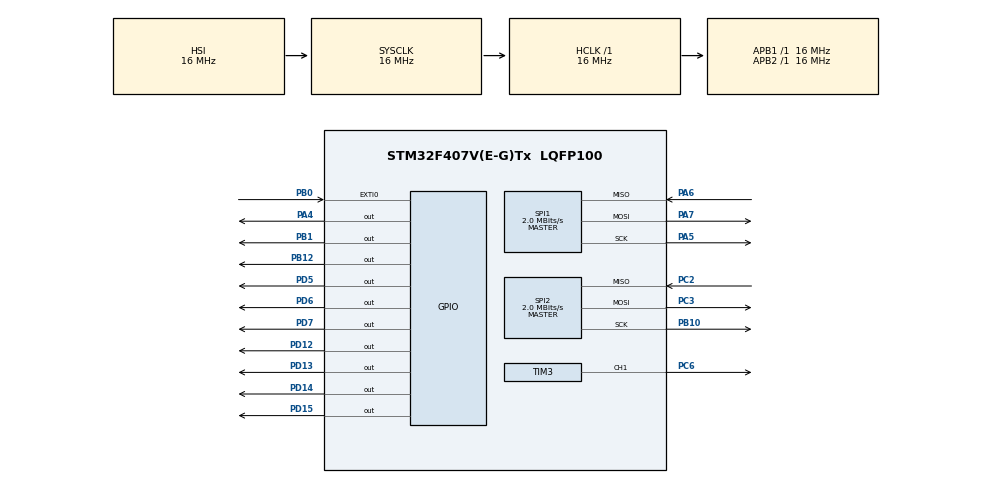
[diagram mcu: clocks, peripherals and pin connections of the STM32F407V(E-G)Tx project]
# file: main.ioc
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IWDG.Prescaler=IWDG_PRESCALER_64
IWDG.Reload=1250
Mcu.Family=STM32F4
Mcu.Name=STM32F407V(E-G)Tx
Mcu.Package=LQFP100
NVIC.EXTI0_IRQn=true\:0\:0\:false\:false\:true\:true\:true\:true
NVIC.PriorityGroup=NVIC_PRIORITYGROUP_4
PA4.GPIO_Speed=GPIO_SPEED_FREQ_LOW
PA4.PinState=GPIO_PIN_RESET
PA4.Signal=GPIO_Output
PA5.Mode=Full_Duplex_Master
PA5.Signal=SPI1_SCK
PA6.Mode=Full_Duplex_Master
PA6.Signal=SPI1_MISO
PA7.Mode=Full_Duplex_Master
PA7.Signal=SPI1_MOSI
PB0.GPIO_ModeDefaultEXTI=GPIO_MODE_IT_FALLING
PB0.GPIO_PuPd=GPIO_PULLUP
PB0.Signal=GPXTI0
PB1.GPIO_Speed=GPIO_SPEED_FREQ_HIGH
PB1.Signal=GPIO_Output
PB10.GPIO_PuPd=GPIO_NOPULL
PB10.Mode=Full_Duplex_Master
PB10.Signal=SPI2_SCK
PB12.PinState=GPIO_PIN_SET
PB12.Signal=GPIO_Output
PC2.Mode=Full_Duplex_Master
PC2.Signal=SPI2_MISO
PC3.Mode=Full_Duplex_Master
PC3.Signal=SPI2_MOSI
PC6.Signal=S_TIM3_CH1
PD12.Signal=GPIO_Output
PD13.Signal=GPIO_Output
PD14.Signal=GPIO_Output
PD15.Signal=GPIO_Output
PD5.Signal=GPIO_Output
PD6.Signal=GPIO_Output
PD7.Signal=GPIO_Output
ProjectManager.HeapSize=0x200
ProjectManager.StackSize=0x400
ProjectManager.TargetToolchain=STM32CubeIDE
RCC.AHBFreq_Value=16000000
RCC.APB1Freq_Value=16000000
RCC.APB2Freq_Value=16000000
RCC.CortexFreq_Value=16000000
RCC.HSE_VALUE=25000000
RCC.HSI_VALUE=16000000
RCC.LSE_VALUE=32768
RCC.SYSCLKFreq_VALUE=16000000
RCC.VCOOutputFreq_Value=192000000
SH.S_TIM3_CH1.0=TIM3_CH1,PWM Generation1 CH1
SPI1.BaudRatePrescaler=SPI_BAUDRATEPRESCALER_8
SPI1.CalculateBaudRate=2.0 MBits/s
SPI1.Direction=SPI_DIRECTION_2LINES
SPI1.Mode=SPI_MODE_MASTER
SPI1.VirtualType=VM_MASTER
SPI2.BaudRatePrescaler=SPI_BAUDRATEPRESCALER_8
SPI2.CalculateBaudRate=2.0 MBits/s
SPI2.Direction=SPI_DIRECTION_2LINES
SPI2.Mode=SPI_MODE_MASTER
SPI2.VirtualType=VM_MASTER
TIM3.Channel-PWM\ Generation1\ CH1=TIM_CHANNEL_1
TIM3.Period=19999
TIM3.Prescaler=15
VP_IWDG_VS_IWDG.Mode=IWDG_Activate
board=custom

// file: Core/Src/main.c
/* USER CODE BEGIN Header */
/**
  ******************************************************************************
  * @file           : main.c
  * @brief          : Main program body
  ******************************************************************************
  * @attention
  *
  * Copyright (c) 2026 STMicroelectronics.
  * All rights reserved.
  *
  * This software is licensed under terms that can be found in the LICENSE file
  * in the root directory of this software component.
  * If no LICENSE file comes with this software, it is provided AS-IS.
  *
  ******************************************************************************
  */
/* USER CODE END Header */
#include "main.h"

/* USER CODE BEGIN Includes */
#include <lwip.h>
#include "enc28j60.h"   //ENC28j60
#include "ethernetif.h"
#include "lwip/udp.h"
#include <string.h>
#include "mfrc522.h"
/* USER CODE END Includes */

IWDG_HandleTypeDef hiwdg;

SPI_HandleTypeDef hspi1;
SPI_HandleTypeDef hspi2;

TIM_HandleTypeDef htim3;

/* USER CODE BEGIN PV */
ENC_HandleTypeDef enc_handle;
static uint8_t enc_flag = 0;

extern struct netif gnetif;  //netif object

static struct udp_pcb *udp_pcb_handle;
static ip_addr_t pc_ip;
static u16_t bbb_port =  5005;

volatile uint8_t udp_rx_flag = 0;

uint8_t angle=0;
/* RFID */
//volatile uint8_t rfid_ready = 0;
//uint8_t rfid_uid[8];
//uint8_t rfid_uid_len = 0;

/* UDP reply */
volatile uint8_t udp_reply_ready = 0;
char udp_reply_buf[32];

MFRC522_t rfid = {
    .hspi   = &hspi1,
    .csPort = GPIOA,
    .csPin  = GPIO_PIN_4,
    .rstPort = GPIOB,
    .rstPin  = GPIO_PIN_1
};

uint8_t rfid_uid[5];
volatile uint8_t rfid_present = 0;

/* USER CODE END PV */

void SystemClock_Config(void);
static void MX_GPIO_Init(void);
static void MX_SPI2_Init(void);
static void MX_SPI1_Init(void);
static void MX_IWDG_Init(void);
static void MX_TIM3_Init(void);
/* USER CODE BEGIN PFP */
void udp_send_data(void);
void udp_rx_callback(void *arg,
                     struct udp_pcb *pcb,
                     struct pbuf *p,
                     const ip_addr_t *addr,
                     u16_t port);
void rfid_poll(void);
void Servo_SetAngle(uint8_t angle);
//void MFRC522_Recover(void);
//static uint8_t uid_is_valid(uint8_t *uid);
/* USER CODE END PFP */

int main(void)
{

  /* MCU Configuration--------------------------------------------------------*/

  /* Reset of all peripherals, Initializes the Flash interface and the Systick. */
  HAL_Init();

  /* Configure the system clock */
  SystemClock_Config();

  /* Initialize all configured peripherals */
  MX_GPIO_Init();
  MX_SPI2_Init();
  MX_SPI1_Init();
  MX_IWDG_Init();
  MX_TIM3_Init();
  /* USER CODE BEGIN 2 */

  MFRC522_Init(&rfid);

  uint8_t mac[6] = {0x02, 0x12, 0x34, 0x56, 0x78, 0x9A};

  enc_handle.Init.MACAddr = mac;
  enc_handle.Init.DuplexMode = ETH_MODE_HALFDUPLEX;
  enc_handle.Init.ChecksumMode = ETH_CHECKSUM_BY_HARDWARE;
  enc_handle.Init.InterruptEnableBits = EIE_LINKIE | EIE_PKTIE;

  HAL_Delay(100);
  if (!enc_start(&enc_handle))
  {
      // ENC not detected → SPI / CS / wiring issue
      while (1)
      {
      }
  }

  enc_set_MAC(&enc_handle);

  /*Initialize lwIP stack*/
  //lwip_init();
  MX_LWIP_Init();

  /* UDP init */
    udp_pcb_handle = udp_new();
    if (udp_pcb_handle == NULL)
      while (1);

    IP4_ADDR(&pc_ip, 192,168,1,20);

    udp_bind(udp_pcb_handle, IP_ADDR_ANY, 5005);
    //udp_connect(udp_pcb_handle, &pc_ip, 5005);
    udp_recv(udp_pcb_handle, udp_rx_callback, NULL);

    HAL_TIM_PWM_Start(&htim3, TIM_CHANNEL_1);

  /* USER CODE END 2 */

  /* Infinite loop */
  /* USER CODE BEGIN WHILE */
  while (1)
  {
	  rfid_poll();
	  if(enc_flag)
	  {
		  enc_flag = 0;
		  enc_irq_handler(&enc_handle);

		  //while(enc_get_received_frame(&enc_handle))
		  //{
			  ethernetif_input(&gnetif);
		  //}
			  enc_enable_interrupts(EIE_INTIE | EIE_PKTIE | EIE_LINKIE);
	  }

	  if(enc_handle.transmitLength > 0)
	  {
		  ethernet_transmit();
	  }

	  //rfid_poll();

	  if (rfid_present)
	  {
	      udp_send_data();
	      //card_sent = 1;
	      rfid_present = 0;
	  }

	  if (udp_reply_ready)
	  {
		  udp_reply_ready = 0;

		  if(strcmp(udp_reply_buf, "ACK\n") == 0)
		  {
			  HAL_GPIO_WritePin(GPIOD, GPIO_PIN_6, SET);
			  HAL_Delay(1000);
			  HAL_GPIO_WritePin(GPIOD, GPIO_PIN_6, RESET);
			  // Open slowly
			          for (int angle = 0; angle <= 180; angle++)
			          {
			              Servo_SetAngle(angle);
			              HAL_Delay(10);
			          }

			          // Wait
			          HAL_Delay(3000);

			          // Close slowly
			          for (int angle = 180; angle >= 0; angle--)
			          {
			              Servo_SetAngle(angle);
			              HAL_Delay(10);
			          }
		  }
		  else if(strcmp(udp_reply_buf, "DENY\n") == 0)
		  {
			  HAL_GPIO_WritePin(GPIOD, GPIO_PIN_5, SET);
			  HAL_Delay(3000);
			  HAL_GPIO_WritePin(GPIOD, GPIO_PIN_5, RESET);

		  }
	  }

	  sys_check_timeouts();

	  HAL_IWDG_Refresh(&hiwdg);
    /* USER CODE END WHILE */

  }
}

void SystemClock_Config(void)
{
  RCC_OscInitTypeDef RCC_OscInitStruct = {0};
  RCC_ClkInitTypeDef RCC_ClkInitStruct = {0};

  /** Configure the main internal regulator output voltage
  */
  __HAL_RCC_PWR_CLK_ENABLE();
  __HAL_PWR_VOLTAGESCALING_CONFIG(PWR_REGULATOR_VOLTAGE_SCALE1);

  /** Initializes the RCC Oscillators according to the specified parameters
  * in the RCC_OscInitTypeDef structure.
  */
  RCC_OscInitStruct.OscillatorType = RCC_OSCILLATORTYPE_HSI|RCC_OSCILLATORTYPE_LSI;
  RCC_OscInitStruct.HSIState = RCC_HSI_ON;
  RCC_OscInitStruct.HSICalibrationValue = RCC_HSICALIBRATION_DEFAULT;
  RCC_OscInitStruct.LSIState = RCC_LSI_ON;
  RCC_OscInitStruct.PLL.PLLState = RCC_PLL_NONE;
  if (HAL_RCC_OscConfig(&RCC_OscInitStruct) != HAL_OK)
  {
    Error_Handler();
  }

  /** Initializes the CPU, AHB and APB buses clocks
  */
  RCC_ClkInitStruct.ClockType = RCC_CLOCKTYPE_HCLK|RCC_CLOCKTYPE_SYSCLK
                              |RCC_CLOCKTYPE_PCLK1|RCC_CLOCKTYPE_PCLK2;
  RCC_ClkInitStruct.SYSCLKSource = RCC_SYSCLKSOURCE_HSI;
  RCC_ClkInitStruct.AHBCLKDivider = RCC_SYSCLK_DIV1;
  RCC_ClkInitStruct.APB1CLKDivider = RCC_HCLK_DIV1;
  RCC_ClkInitStruct.APB2CLKDivider = RCC_HCLK_DIV1;

  if (HAL_RCC_ClockConfig(&RCC_ClkInitStruct, FLASH_LATENCY_0) != HAL_OK)
  {
    Error_Handler();
  }
}

static void MX_IWDG_Init(void)
{

  hiwdg.Instance = IWDG;
  hiwdg.Init.Prescaler = IWDG_PRESCALER_256;
  hiwdg.Init.Reload = 1250;
  if (HAL_IWDG_Init(&hiwdg) != HAL_OK)
  {
    Error_Handler();
  }

}

static void MX_SPI1_Init(void)
{

  /* SPI1 parameter configuration*/
  hspi1.Instance = SPI1;
  hspi1.Init.Mode = SPI_MODE_MASTER;
  hspi1.Init.Direction = SPI_DIRECTION_2LINES;
  hspi1.Init.DataSize = SPI_DATASIZE_8BIT;
  hspi1.Init.CLKPolarity = SPI_POLARITY_LOW;
  hspi1.Init.CLKPhase = SPI_PHASE_1EDGE;
  hspi1.Init.NSS = SPI_NSS_SOFT;
  hspi1.Init.BaudRatePrescaler = SPI_BAUDRATEPRESCALER_8;
  hspi1.Init.FirstBit = SPI_FIRSTBIT_MSB;
  hspi1.Init.TIMode = SPI_TIMODE_DISABLE;
  hspi1.Init.CRCCalculation = SPI_CRCCALCULATION_DISABLE;
  hspi1.Init.CRCPolynomial = 10;
  if (HAL_SPI_Init(&hspi1) != HAL_OK)
  {
    Error_Handler();
  }

}

static void MX_SPI2_Init(void)
{

  /* SPI2 parameter configuration*/
  hspi2.Instance = SPI2;
  hspi2.Init.Mode = SPI_MODE_MASTER;
  hspi2.Init.Direction = SPI_DIRECTION_2LINES;
  hspi2.Init.DataSize = SPI_DATASIZE_8BIT;
  hspi2.Init.CLKPolarity = SPI_POLARITY_LOW;
  hspi2.Init.CLKPhase = SPI_PHASE_1EDGE;
  hspi2.Init.NSS = SPI_NSS_SOFT;
  hspi2.Init.BaudRatePrescaler = SPI_BAUDRATEPRESCALER_8;
  hspi2.Init.FirstBit = SPI_FIRSTBIT_MSB;
  hspi2.Init.TIMode = SPI_TIMODE_DISABLE;
  hspi2.Init.CRCCalculation = SPI_CRCCALCULATION_DISABLE;
  hspi2.Init.CRCPolynomial = 10;
  if (HAL_SPI_Init(&hspi2) != HAL_OK)
  {
    Error_Handler();
  }

}

static void MX_TIM3_Init(void)
{

  TIM_MasterConfigTypeDef sMasterConfig = {0};
  TIM_OC_InitTypeDef sConfigOC = {0};

  htim3.Instance = TIM3;
  htim3.Init.Prescaler = 15;
  htim3.Init.CounterMode = TIM_COUNTERMODE_UP;
  htim3.Init.Period = 19999;
  htim3.Init.ClockDivision = TIM_CLOCKDIVISION_DIV1;
  htim3.Init.AutoReloadPreload = TIM_AUTORELOAD_PRELOAD_DISABLE;
  if (HAL_TIM_PWM_Init(&htim3) != HAL_OK)
  {
    Error_Handler();
  }
  sMasterConfig.MasterOutputTrigger = TIM_TRGO_RESET;
  sMasterConfig.MasterSlaveMode = TIM_MASTERSLAVEMODE_DISABLE;
  if (HAL_TIMEx_MasterConfigSynchronization(&htim3, &sMasterConfig) != HAL_OK)
  {
    Error_Handler();
  }
  sConfigOC.OCMode = TIM_OCMODE_PWM1;
  sConfigOC.Pulse = 0;
  sConfigOC.OCPolarity = TIM_OCPOLARITY_HIGH;
  sConfigOC.OCFastMode = TIM_OCFAST_DISABLE;
  if (HAL_TIM_PWM_ConfigChannel(&htim3, &sConfigOC, TIM_CHANNEL_1) != HAL_OK)
  {
    Error_Handler();
  }
  HAL_TIM_MspPostInit(&htim3);

}

static void MX_GPIO_Init(void)
{
  GPIO_InitTypeDef GPIO_InitStruct = {0};

  /* GPIO Ports Clock Enable */
  __HAL_RCC_GPIOC_CLK_ENABLE();
  __HAL_RCC_GPIOA_CLK_ENABLE();
  __HAL_RCC_GPIOB_CLK_ENABLE();
  __HAL_RCC_GPIOD_CLK_ENABLE();

  /*Configure GPIO pin Output Level */
  HAL_GPIO_WritePin(GPIOA, GPIO_PIN_4, GPIO_PIN_RESET);

  /*Configure GPIO pin Output Level */
  HAL_GPIO_WritePin(GPIOB, GPIO_PIN_1, GPIO_PIN_RESET);

  /*Configure GPIO pin Output Level */
  HAL_GPIO_WritePin(GPIOB, GPIO_PIN_12, GPIO_PIN_SET);

  /*Configure GPIO pin Output Level */
  HAL_GPIO_WritePin(GPIOD, GPIO_PIN_12|GPIO_PIN_13|GPIO_PIN_14|GPIO_PIN_15
                          |GPIO_PIN_5|GPIO_PIN_6|GPIO_PIN_7, GPIO_PIN_RESET);

  /*Configure GPIO pin : PA4 */
  GPIO_InitStruct.Pin = GPIO_PIN_4;
  GPIO_InitStruct.Mode = GPIO_MODE_OUTPUT_PP;
  GPIO_InitStruct.Pull = GPIO_NOPULL;
  GPIO_InitStruct.Speed = GPIO_SPEED_FREQ_LOW;
  HAL_GPIO_Init(GPIOA, &GPIO_InitStruct);

  /*Configure GPIO pin : PB0 */
  GPIO_InitStruct.Pin = GPIO_PIN_0;
  GPIO_InitStruct.Mode = GPIO_MODE_IT_FALLING;
  GPIO_InitStruct.Pull = GPIO_PULLUP;
  HAL_GPIO_Init(GPIOB, &GPIO_InitStruct);

  /*Configure GPIO pin : PB1 */
  GPIO_InitStruct.Pin = GPIO_PIN_1;
  GPIO_InitStruct.Mode = GPIO_MODE_OUTPUT_PP;
  GPIO_InitStruct.Pull = GPIO_NOPULL;
  GPIO_InitStruct.Speed = GPIO_SPEED_FREQ_HIGH;
  HAL_GPIO_Init(GPIOB, &GPIO_InitStruct);

  /*Configure GPIO pin : PB12 */
  GPIO_InitStruct.Pin = GPIO_PIN_12;
  GPIO_InitStruct.Mode = GPIO_MODE_OUTPUT_PP;
  GPIO_InitStruct.Pull = GPIO_NOPULL;
  GPIO_InitStruct.Speed = GPIO_SPEED_FREQ_LOW;
  HAL_GPIO_Init(GPIOB, &GPIO_InitStruct);

  /*Configure GPIO pins : PD12 PD13 PD14 PD15
                           PD5 PD6 PD7 */
  GPIO_InitStruct.Pin = GPIO_PIN_12|GPIO_PIN_13|GPIO_PIN_14|GPIO_PIN_15
                          |GPIO_PIN_5|GPIO_PIN_6|GPIO_PIN_7;
  GPIO_InitStruct.Mode = GPIO_MODE_OUTPUT_PP;
  GPIO_InitStruct.Pull = GPIO_NOPULL;
  GPIO_InitStruct.Speed = GPIO_SPEED_FREQ_LOW;
  HAL_GPIO_Init(GPIOD, &GPIO_InitStruct);

  /* EXTI interrupt init*/
  HAL_NVIC_SetPriority(EXTI0_IRQn, 0, 0);
  HAL_NVIC_EnableIRQ(EXTI0_IRQn);

}

/* USER CODE BEGIN 4 */
void HAL_GPIO_EXTI_Callback(uint16_t GPIO_Pin)
{
	if(GPIO_Pin == GPIO_PIN_0)
	{
		enc_flag = 1;
		HAL_GPIO_TogglePin(GPIOD, GPIO_PIN_13);  //Ethernet frame reached ENC
	}

}

/* UDP SEND */
void udp_send_data(void)
{
    char msg[32];

    //if (rfid_present)
    //{
        snprintf(msg, sizeof(msg),
                 "UID:%02X%02X%02X%02X",
                 rfid_uid[0],
                 rfid_uid[1],
                 rfid_uid[2],
                 rfid_uid[3]);

    /*    rfid_present = 0;
    }
    else
    {
        return;
    }*/

    struct pbuf *p = pbuf_alloc(PBUF_TRANSPORT, strlen(msg), PBUF_RAM);
    if (!p) return;

    memcpy(p->payload, msg, strlen(msg));
    udp_sendto(udp_pcb_handle, p, &pc_ip, bbb_port);
    pbuf_free(p);
}

void rfid_poll(void)
{
    static uint8_t last_uid[4] = {0};
    //static uint8_t card_present = 0;
    uint8_t atqa[2];

    MFRC522_AntennaOn(&rfid);
    HAL_Delay(10);  // Let RF stabilize

    if (MFRC522_RequestA(&rfid, atqa) == STATUS_OK)
    {
			if (MFRC522_ReadUid(&rfid, rfid_uid) == STATUS_OK)
			{
				/* If UID is same as last one, ignore */
				if (memcmp(last_uid, rfid_uid, 4) == 0)
					return;

				/* New card detected */
				memcpy(last_uid, rfid_uid, 4);
				rfid_present = 1;
				//card_present = 1;   // lock until removal

			}
    	}

}

/* UDP RX CALLBACK (NON-BLOCKING) */
void udp_rx_callback(void *arg,
                     struct udp_pcb *pcb,
                     struct pbuf *p,
                     const ip_addr_t *addr,
                     u16_t port)
{
    if (!p) return;

    memset(udp_reply_buf, 0, sizeof(udp_reply_buf));
    memcpy(udp_reply_buf, p->payload, LWIP_MIN(p->len, sizeof(udp_reply_buf)-1));

    ip_addr_set(&pc_ip, addr);
    bbb_port = port;

    udp_reply_ready = 1;

    pbuf_free(p);
}

void Servo_SetAngle(uint8_t angle)
{
    uint16_t pulse;

    pulse = 1000 + ((angle * 1000) / 180); // 1000–2000 us

    __HAL_TIM_SET_COMPARE(&htim3, TIM_CHANNEL_1, pulse);
}
/* USER CODE END 4 */

void Error_Handler(void)
{
  __disable_irq();
  while (1)
  {
  }
}
